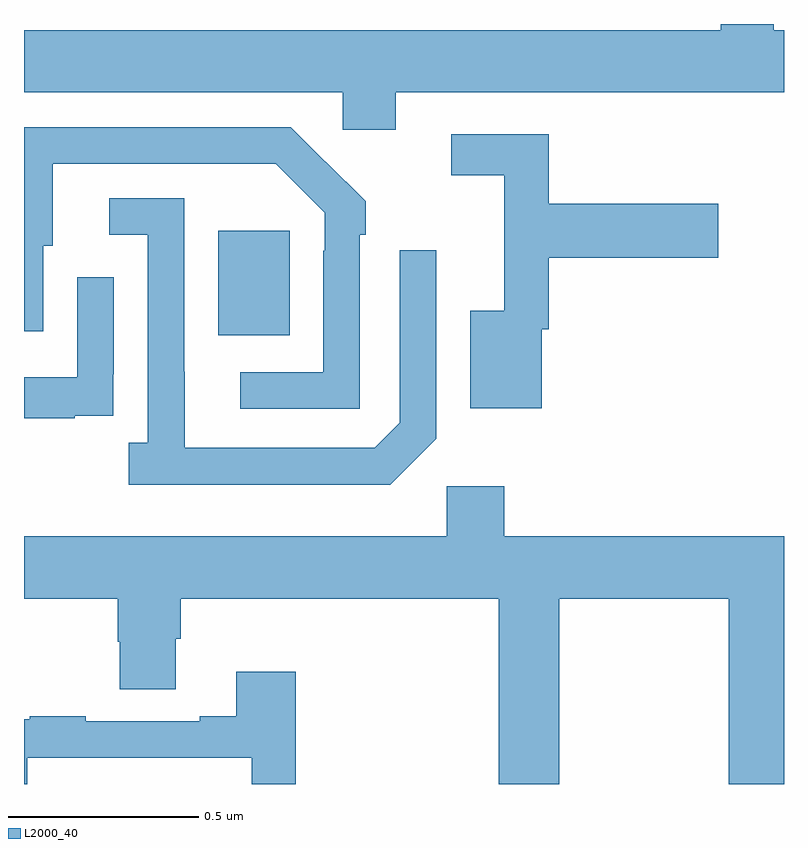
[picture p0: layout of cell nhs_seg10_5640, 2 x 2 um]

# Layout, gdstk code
import gdstk
lib = gdstk.Library(unit=1e-6, precision=1e-09)
def R(c, l, rs):  # rectangles x0, y0, x1, y1
    for r in rs: c.add(gdstk.rectangle(r[:2], r[2:], *l))
def P(c, l, *ps):  # polygons
    for p in ps: c.add(gdstk.Polygon(p, *l))
L2000_40 = (2000, 40)

nhs_seg10_5640 = lib.new_cell('nhs_seg10_5640')
R(nhs_seg10_5640, L2000_40, [(181.511,1295.681,181.699,1295.956)])
P(nhs_seg10_5640, L2000_40, [(181.978,1296.32),(183,1296.32),(183,1296.484),(182.973,1296.484),(182.973,1296.5),(182.834,1296.5),(182.834,1296.484),(181,1296.484),(181,1296.32),(181.839,1296.32),(181.839,1296.222),(181.978,1296.222)],
  [(181.884,1295.945),(181.899,1295.945),(181.899,1296.033),(181.794,1296.138),(181.793,1296.137),(181.702,1296.228),(181,1296.228),(181,1295.691),(181.051,1295.691),(181.051,1295.916),(181.075,1295.916),(181.075,1296.132),(181.663,1296.132),(181.791,1296.003),(181.791,1295.903),(181.788,1295.903),(181.788,1295.583),(181.569,1295.583),(181.569,1295.487),(181.884,1295.487)],
  [(182.362,1295.697),(182.381,1295.697),(182.381,1295.885),(182.827,1295.885),(182.827,1296.027),(182.381,1296.027),(182.381,1296.21),(182.124,1296.21),(182.124,1296.102),(182.264,1296.102),(182.264,1295.746),(182.174,1295.746),(182.174,1295.489),(182.362,1295.489)],
  [(182.085,1295.409),(182.085,1295.905),(181.989,1295.905),(181.989,1295.451),(181.923,1295.385),(181.423,1295.385),(181.423,1295.585),(181.422,1295.585),(181.422,1296.042),(181.224,1296.042),(181.224,1295.946),(181.326,1295.946),(181.326,1295.398),(181.275,1295.398),(181.275,1295.288),(181.964,1295.288)],
  [(181.133,1295.469),(181.235,1295.469),(181.235,1295.578),(181.236,1295.578),(181.236,1295.833),(181.14,1295.833),(181.14,1295.571),(181,1295.571),(181,1295.463),(181.133,1295.463)],
  [(182.409,1294.988),(182.854,1294.988),(182.854,1294.5),(183,1294.5),(183,1295.152),(182.264,1295.152),(182.264,1295.284),(182.112,1295.284),(182.112,1295.152),(181,1295.152),(181,1294.988),(181.247,1294.988),(181.247,1294.875),(181.252,1294.875),(181.252,1294.75),(181.399,1294.75),(181.399,1294.882),(181.412,1294.882),(181.412,1294.988),(182.249,1294.988),(182.249,1294.5),(182.409,1294.5)],
  [(181.008,1294.569),(181.599,1294.569),(181.599,1294.5),(181.715,1294.5),(181.715,1294.795),(181.559,1294.795),(181.559,1294.678),(181.463,1294.678),(181.463,1294.665),(181.163,1294.665),(181.163,1294.678),(181.015,1294.678),(181.015,1294.671),(181,1294.671),(181,1294.5),(181.008,1294.5)])

lib.write_gds('nhs_seg10_5640.gds')
